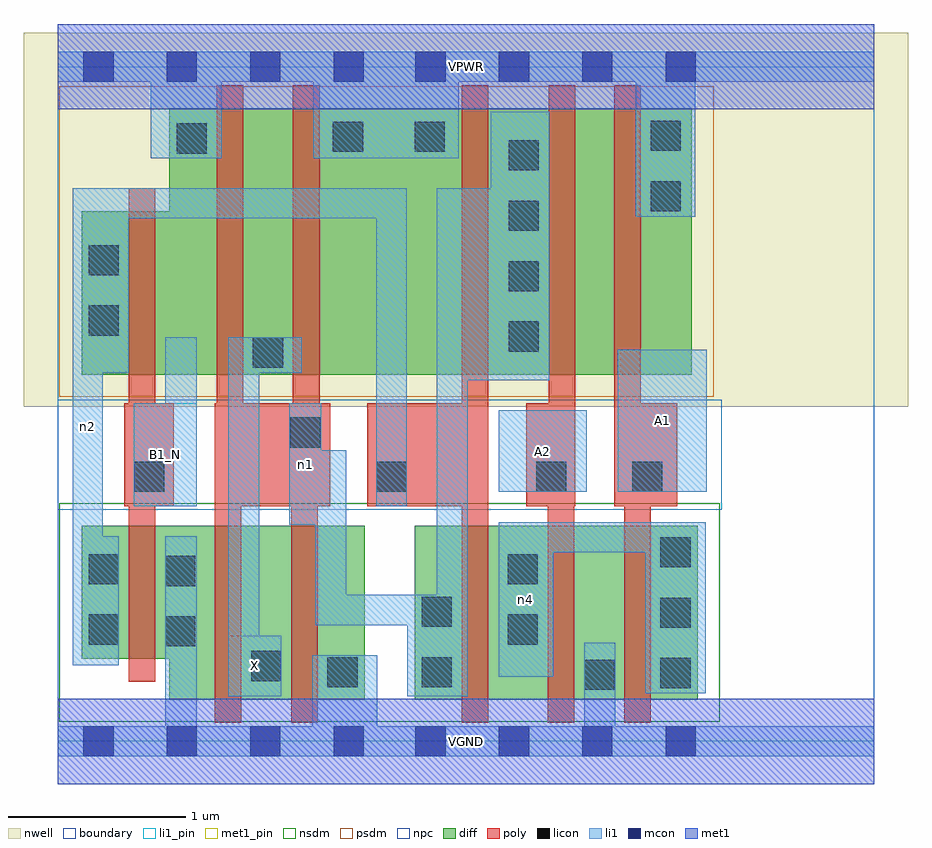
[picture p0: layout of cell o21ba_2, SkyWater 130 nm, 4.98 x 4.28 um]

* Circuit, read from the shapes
.subckt o21ba_2 A1 A2 B1_N VGND VPWR X n1 n2 n4
XM1 VGND B1_N n2 VSUBS sky130_fd_pr__nfet_01v8 w=0.75 l=0.15
XM2 X n1 VGND VSUBS sky130_fd_pr__nfet_01v8 w=0.98 l=0.15 m=2
XM3 n4 n2 n1 VSUBS sky130_fd_pr__nfet_01v8 w=0.98 l=0.15
XM4 VGND A2 n4 VSUBS sky130_fd_pr__nfet_01v8 w=0.98 l=0.15
XM5 n4 A1 VGND VSUBS sky130_fd_pr__nfet_01v8 w=0.98 l=0.15
XM6 VPWR B1_N n2 n3 sky130_fd_pr__pfet_01v8 w=0.92 l=0.15
XM7 X n1 VPWR n3 sky130_fd_pr__pfet_01v8 w=1.5 l=0.15 m=2
XM8 n1 n2 VPWR n3 sky130_fd_pr__pfet_01v8 w=1.5 l=0.15
XM9 n5 A2 n1 n3 sky130_fd_pr__pfet_01v8 w=1.5 l=0.15
XM10 VPWR A1 n5 n3 sky130_fd_pr__pfet_01v8 w=1.5 l=0.15
.ends

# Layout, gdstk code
import gdstk
lib = gdstk.Library(unit=1e-6, precision=1e-09)
def R(c, l, rs):  # rectangles x0, y0, x1, y1
    for r in rs: c.add(gdstk.rectangle(r[:2], r[2:], *l))
def A(c, l, x, y, w, h, nx, ny, dx, dy):  # array of equal rectangles
    R(c, l, [(x+i*dx, y+j*dy, x+i*dx+w, y+j*dy+h) for i in range(nx) for j in range(ny)])
nwell = (64, 20)
diff = (65, 20)
poly = (66, 20)
licon = (66, 44)
li1_pin = (67, 16)
li1 = (67, 20)
mcon = (67, 44)
met1_pin = (68, 16)
met1 = (68, 20)
nsdm = (93, 44)
psdm = (94, 20)
npc = (95, 20)
boundary = (235, 4)

o21ba_2 = lib.new_cell('o21ba_2')
R(o21ba_2, nwell, [(-0.19,1.885,4.79,3.99), (0,1.885,4.6,3.99)])
R(o21ba_2, diff, [(0.63,0.235,1.73,1.215), (2.01,0.235,3.605,1.215), (0.135,0.465,1.73,1.215), (0.135,2.065,3.57,2.985), (0.63,2.065,3.57,3.565)])
R(o21ba_2, poly, [(0.885,0.105,1.035,1.905), (1.315,0.105,1.465,1.905), (2.275,0.105,2.425,3.695), (2.76,0.105,2.91,1.905), (3.19,0.105,3.34,1.905), (0.4,0.335,0.55,3.115), (0.375,1.325,0.655,1.905), (0.885,1.325,1.535,1.905), (0.895,1.325,1.045,3.695), (1.325,1.325,1.475,3.695), (1.745,1.325,2.425,1.905), (2.64,1.325,2.915,1.905), (2.765,1.325,2.915,3.695), (3.135,1.325,3.285,3.695), (3.135,1.325,3.49,1.905)])
A(o21ba_2, licon, 3.395, 0.3, 0.17, 0.17, 1, 3, 0, 0.34)
A(o21ba_2, licon, 2.54, 2.195, 0.17, 0.17, 1, 4, 0, 0.34)
R(o21ba_2, licon, [(2.965,0.29,3.135,0.46), (1.52,0.305,1.69,0.475), (2.05,0.305,2.22,0.475), (1.09,0.34,1.26,0.51), (0.605,0.535,0.775,0.705), (0.175,0.545,0.345,0.715), (2.535,0.545,2.705,0.715), (2.05,0.645,2.22,0.815), (0.605,0.875,0.775,1.045), (0.175,0.885,0.345,1.055), (2.535,0.885,2.705,1.055), (0.43,1.405,0.6,1.575), (1.795,1.405,1.965,1.575), (2.695,1.405,2.865,1.575), (3.235,1.405,3.405,1.575), (1.31,1.655,1.48,1.825), (1.1,2.105,1.27,2.275), (0.175,2.285,0.345,2.455), (0.175,2.625,0.345,2.795), (3.34,2.985,3.51,3.155), (0.67,3.31,0.84,3.48), (1.55,3.32,1.72,3.49), (2.01,3.32,2.18,3.49), (3.34,3.325,3.51,3.495)])
R(o21ba_2, li1_pin, [(0.96,0.255,1.26,0.595), (0.43,1.325,0.785,1.905), (2.485,1.405,2.98,1.865), (3.155,1.405,3.655,2.205)])
R(o21ba_2, li1, [(0,-0.085,4.6,0.085), (0.605,-0.085,0.785,1.155), (1.435,-0.085,1.8,0.485), (2.965,-0.085,3.14,0.555), (0.96,0.255,1.135,2.275), (0.96,0.255,1.26,0.595), (1.97,0.255,2.31,0.825), (2.135,0.255,2.31,3.115), (3.31,0.27,3.65,1.235), (2.485,0.365,2.79,1.235), (0.085,0.43,0.255,3.115), (0.085,0.43,0.345,1.155), (1.45,0.655,2.31,0.825), (1.45,0.655,1.625,1.64), (2.485,1.065,3.65,1.235), (1.305,1.22,1.485,1.905), (0.43,1.325,0.785,1.905), (0.605,1.325,0.785,2.275), (1.795,1.325,1.965,3.115), (2.485,1.405,2.98,1.865), (3.155,1.405,3.655,2.205), (2.135,2.035,2.77,3.115), (2.44,2.035,2.77,3.545), (0.085,2.075,0.4,3.115), (0.96,2.075,1.375,2.275), (0.085,2.945,1.965,3.115), (3.255,2.955,3.59,3.885), (0.525,3.285,0.925,3.885), (1.44,3.285,2.26,3.885), (0,3.715,4.6,3.885)])
A(o21ba_2, mcon, 0.145, -0.085, 0.17, 0.17, 4, 2, 0.47, 3.8)
A(o21ba_2, mcon, 2.015, -0.085, 0.17, 0.17, 4, 2, 0.47, 3.8)
R(o21ba_2, met1_pin, [(0,-0.24,4.6,0.24), (0,3.56,4.6,4.04)])
R(o21ba_2, met1, [(0,-0.24,4.6,0.24), (0,3.56,4.6,4.04)])
R(o21ba_2, nsdm, [(0.01,0.11,3.73,1.34)])
R(o21ba_2, psdm, [(0.01,1.94,3.695,3.69)])
R(o21ba_2, npc, [(0,1.305,3.74,1.925)])
R(o21ba_2, boundary, [(0,0,4.6,3.8)])
o21ba_2.add(gdstk.Label('A1', (3.405,1.805), layer=67, texttype=5))
o21ba_2.add(gdstk.Label('A2', (2.732,1.635), layer=67, texttype=5))
o21ba_2.add(gdstk.Label('B1_N', (0.607,1.615), layer=67, texttype=5))
o21ba_2.add(gdstk.Label('X', (1.11,0.425), layer=67, texttype=5))
o21ba_2.add(gdstk.Label('n4', (2.637,0.8), layer=67, texttype=5))
o21ba_2.add(gdstk.Label('n2', (0.17,1.772), layer=67, texttype=5))
o21ba_2.add(gdstk.Label('n1', (1.395,1.562), layer=67, texttype=5))
o21ba_2.add(gdstk.Label('VPWR', (2.3,3.8), layer=68, texttype=5))
o21ba_2.add(gdstk.Label('VGND', (2.3,0), layer=68, texttype=5))
o21ba_2.add(gdstk.Label('A1', (3.405,1.805), layer=67, texttype=16))
o21ba_2.add(gdstk.Label('A2', (2.732,1.635), layer=67, texttype=16))
o21ba_2.add(gdstk.Label('B1_N', (0.607,1.615), layer=67, texttype=16))
o21ba_2.add(gdstk.Label('X', (1.11,0.425), layer=67, texttype=16))
o21ba_2.add(gdstk.Label('VPWR', (2.3,3.8), layer=68, texttype=16))
o21ba_2.add(gdstk.Label('VGND', (2.3,0), layer=68, texttype=16))

lib.write_gds('o21ba_2.gds')
